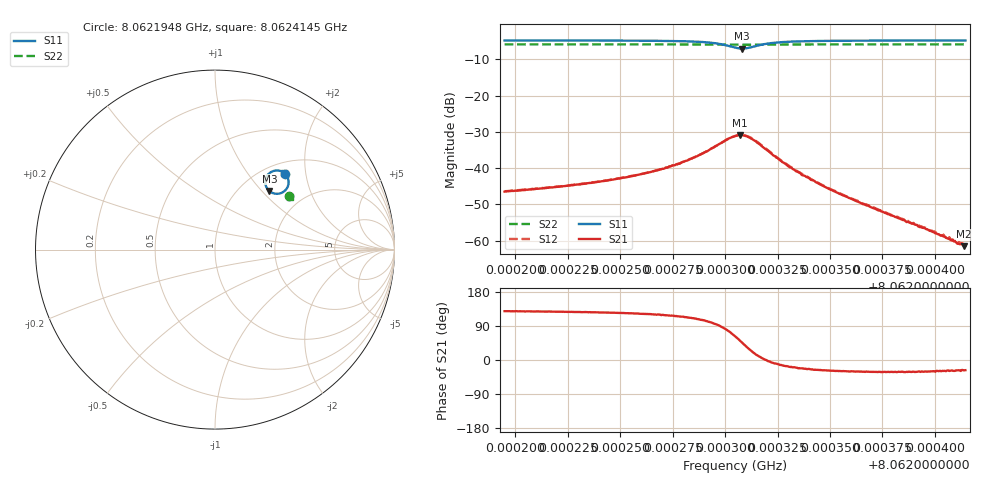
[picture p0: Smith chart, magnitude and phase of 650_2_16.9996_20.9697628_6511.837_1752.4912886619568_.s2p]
#  HZ  S  RI  R  50.00
! Rohde & Schwarz Vector Network Analyzer
! Rohde-Schwarz,ZNB20-2Port,1311601062101988,3.16
! Created: UTC 3/20/2024, 11:21:12 PM
! freq[Hz]  re:S11  im:S11  re:S21  im:S21  re:S12  im:S12  re:S22  im:S22
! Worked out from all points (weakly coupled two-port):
!   401 points, 8.0621948 GHz to 8.0624145 GHz, reference 50 ohm
!   highest |S21| = -30.91 dB at 8.0623069 GHz (marker M1); lowest = -61.5 dB at 8.062414 GHz (marker M2)
!   lowest |S11| = -7.0 dB at 8.062308 GHz (marker M3), VSWR 2.61, Z = 67.7 + j55.1 ohm
!   |S11| at or under -10 dB: nowhere
!   |S22| runs from -6.0 to -5.9 dB; largest |S21 - S12| = 0.0013
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8.06219484e9  0.3915 0.4221  -0.00298 0.0037  -0.0028 0.00391  0.41 0.3008
8.06223164e9  0.3973 0.4153  -0.00357 0.00488  -0.00332 0.00511  0.4115 0.2987
8.06225361e9  0.4019 0.4079  -0.00419 0.00631  -0.00381 0.00658  0.4121 0.2973
8.06226844e9  0.4062 0.3986  -0.0047 0.00822  -0.00421 0.00853  0.4128 0.2961
8.06227723e9  0.4089 0.3891  -0.0048 0.0102  -0.00438 0.0106  0.4131 0.2952
8.06228657e9  0.41 0.3718  -0.00453 0.0138  -0.00376 0.014  0.4134 0.2941
8.062297e9  0.3953 0.3345  -0.000478 0.0214  0.000704 0.0214  0.4124 0.2923
8.0623014e9  0.3698 0.3156  0.00562 0.0247  0.0068 0.0244  0.4114 0.2915
8.06230469e9  0.3377 0.3113  0.0126 0.0246  0.0136 0.0242  0.4101 0.2915
8.06230689e9  0.3139 0.3189  0.0175 0.0224  0.0185 0.0219  0.4092 0.2921
8.06230799e9  0.3031 0.3262  0.0195 0.0204  0.0206 0.0199  0.4088 0.2924
8.06231018e9  0.2869 0.3468  0.0227 0.0158  0.0234 0.015  0.4085 0.2935
8.06231293e9  0.28 0.3757  0.0233 0.00942  0.0241 0.00856  0.4086 0.2946
8.06232062e9  0.3036 0.426  0.0171 -0.00102  0.0174 -0.00169  0.4105 0.2961
8.06233106e9  0.3362 0.4402  0.00971 -0.00324  0.00975 -0.00385  0.4125 0.2959
8.06234149e9  0.3536 0.4405  0.00625 -0.00286  0.00607 -0.00328  0.4135 0.2951
8.06235522e9  0.3657 0.4376  0.00379 -0.00213  0.00372 -0.0024  0.4144 0.2942
8.06237829e9  0.376 0.4333  0.00196 -0.00121  0.00192 -0.00133  0.4157 0.2928
8.06239587e9  0.3806 0.4308  0.00124 -0.000733  0.00124 -0.000837  0.4163 0.2916
8.06241125e9  0.3835 0.4288  0.000809 -0.000415  0.000822 -0.000506  0.417 0.2908
8.06241399e9  0.3838 0.4285  0.000747 -0.000385  0.00075 -0.000459  0.4171 0.2905
8.06241454e9  0.384 0.4284  0.000754 -0.000383  0.000753 -0.000427  0.4169 0.2906
